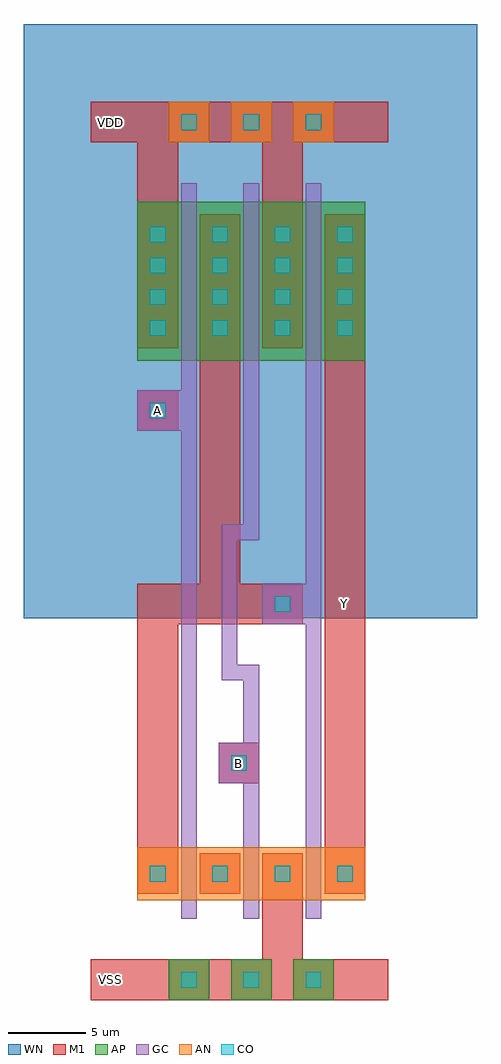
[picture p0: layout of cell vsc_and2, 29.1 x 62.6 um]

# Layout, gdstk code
import gdstk
lib = gdstk.Library(unit=1e-6, precision=1e-07)
def R(c, l, rs):  # rectangles x0, y0, x1, y1
    for r in rs: c.add(gdstk.rectangle(r[:2], r[2:], *l))
def A(c, l, x, y, w, h, nx, ny, dx, dy):  # array of equal rectangles
    R(c, l, [(x+i*dx, y+j*dy, x+i*dx+w, y+j*dy+h) for i in range(nx) for j in range(ny)])
def P(c, l, *ps):  # polygons
    for p in ps: c.add(gdstk.Polygon(p, *l))
AP = (3, 1)
AN = (3, 2)
GC = (8, 1)
CO = (11, 0)
M1 = (13, 0)
WN = (140, 0)

cont_g = lib.new_cell('cont_g')
R(cont_g, GC, [(-1.3,-1.3,1.3,1.3)])
R(cont_g, CO, [(-0.5,-0.5,0.5,0.5)])
R(cont_g, M1, [(-1.3,-1.3,1.3,1.3)])

fet_n_1 = lib.new_cell('fet_n$1')
R(fet_n_1, AN, [(-7.3,-1.7,7.3,1.7)])
A(fet_n_1, CO, -6.5, -0.5, 1, 1, 4, 1, 4, 0)
A(fet_n_1, M1, -7.3, -1.3, 2.6, 2.6, 4, 1, 4, 0)
fet_n_1.add(gdstk.FlexPath([(0,-2.9),(0,2.9)], 1, ends="flush", simple_path=True, layer=8, datatype=1))  # GC
fet_n_1.add(gdstk.FlexPath([(-4,-2.9),(-4,2.9)], 1, ends="flush", simple_path=True, layer=8, datatype=1))  # GC
fet_n_1.add(gdstk.FlexPath([(4,-2.9),(4,2.9)], 1, ends="flush", simple_path=True, layer=8, datatype=1))  # GC

fet_p = lib.new_cell('fet_p')
R(fet_p, AP, [(-7.3,-5.1,7.3,5.1)])
A(fet_p, CO, -6.5, -3.5, 1, 1, 4, 4, 4, 2)
A(fet_p, M1, -7.3, -4.3, 2.6, 8.6, 4, 1, 4, 0)
fet_p.add(gdstk.FlexPath([(0,-6.3),(0,6.3)], 1, ends="flush", simple_path=True, layer=8, datatype=1))  # GC
fet_p.add(gdstk.FlexPath([(-4,-6.3),(-4,6.3)], 1, ends="flush", simple_path=True, layer=8, datatype=1))  # GC
fet_p.add(gdstk.FlexPath([(4,-6.3),(4,6.3)], 1, ends="flush", simple_path=True, layer=8, datatype=1))  # GC

cont_p = lib.new_cell('cont_p')
R(cont_p, AP, [(-1.3,-1.3,1.3,1.3)])
R(cont_p, CO, [(-0.5,-0.5,0.5,0.5)])
R(cont_p, M1, [(-1.3,-1.3,1.3,1.3)])

cont_n = lib.new_cell('cont_n')
R(cont_n, AN, [(-1.3,-1.3,1.3,1.3)])
R(cont_n, CO, [(-0.5,-0.5,0.5,0.5)])
R(cont_n, M1, [(-1.3,-1.3,1.3,1.3)])

vsc_and2 = lib.new_cell('vsc_and2')
P(vsc_and2, GC, [(4.5,9.7),(4.5,35.2),(4.3,35.2),(4.3,37.8),(4.5,37.8),(4.5,38.5),(5.5,38.5),(5.5,9.7)],
  [(8.5,9.7),(8.5,19.2),(7.1,19.2),(7.1,29.2),(8.5,29.2),(8.5,38.5),(9.5,38.5),(9.5,28.2),(8.1,28.2),(8.1,20.2),(9.5,20.2),(9.5,9.7)],
  [(12.5,9.7),(12.5,22.8),(12.3,22.8),(12.3,25.4),(12.5,25.4),(12.5,38.5),(13.5,38.5),(13.5,9.7)])
R(vsc_and2, M1, [(-1.3,-1.3,17.8,1.3), (9.7,1.3,12.3,5.5), (13.7,8.1,16.3,40.5), (1.7,49.1,4.3,53.7), (9.7,49.1,12.3,53.7), (-1.3,53.7,17.8,56.3)])
P(vsc_and2, M1, [(1.7,8.1),(1.7,25.4),(5.7,25.4),(5.7,40.5),(8.3,40.5),(8.3,25.4),(9.7,25.4),(9.7,22.8),(4.3,22.8),(4.3,8.1)])
R(vsc_and2, WN, [(-5.6,23.2,23.5,61.3)])
vsc_and2.add(gdstk.Reference(cont_g, (3,36.5)))
vsc_and2.add(gdstk.Reference(fet_n_1, (9,6.8)))
vsc_and2.add(gdstk.Reference(fet_p, (9,44.8)))
vsc_and2.add(gdstk.Reference(cont_g, (11,24.1)))
vsc_and2.add(gdstk.Reference(cont_g, (8.2,13.9)))
r = gdstk.Reference(cont_p, (5,0)); r.repetition = gdstk.Repetition(3, 1, v1=(4,0), v2=(0,0)); vsc_and2.add(r)
r = gdstk.Reference(cont_n, (5,55)); r.repetition = gdstk.Repetition(3, 1, v1=(4,0), v2=(0,0)); vsc_and2.add(r)
vsc_and2.add(gdstk.Label('B', (8.2,13.9), layer=48, texttype=0))
vsc_and2.add(gdstk.Label('A', (3,36.5), layer=48, texttype=0))
vsc_and2.add(gdstk.Label('Y', (15,24.1), layer=48, texttype=0))
vsc_and2.add(gdstk.Label('VSS', (0,0), layer=48, texttype=0))
vsc_and2.add(gdstk.Label('VDD', (0,55), layer=48, texttype=0))

lib.write_gds('vsc_and2.gds')
